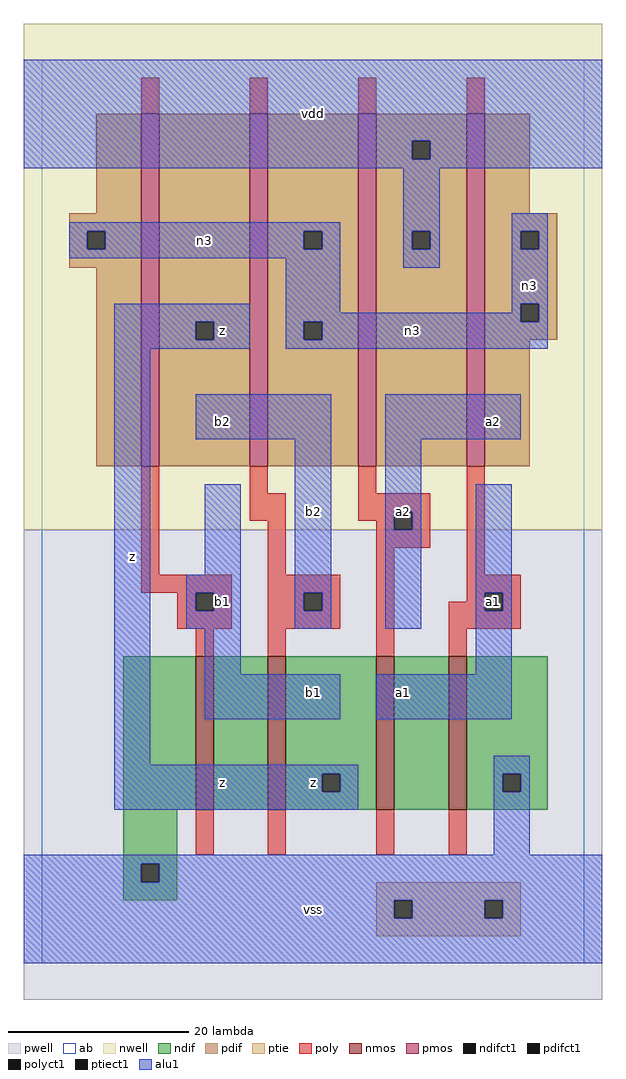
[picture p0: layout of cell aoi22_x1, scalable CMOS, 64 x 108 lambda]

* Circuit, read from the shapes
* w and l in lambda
.subckt aoi22_x1 a1 a2 b1 b2 n3 vdd vss z
M1 n1 b1 vss vss nfet w=17 l=2
M2 z b2 n1 vss nfet w=17 l=2
M3 n2 a2 z vss nfet w=17 l=2
M4 vss a1 n2 vss nfet w=17 l=2
M5 z b1 n3 n4 pfet w=39 l=2
M6 n3 b2 z n4 pfet w=39 l=2
M7 vdd a2 n3 n4 pfet w=39 l=2
M8 n3 a1 vdd n4 pfet w=39 l=2
.ends

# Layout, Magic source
magic
tech scmos
<< ab >>
rect 0 0 60 100
<< nwell >>
rect -2 48 62 104
<< pwell >>
rect -2 -4 62 48
<< poly >>
rect 11 94 13 98
rect 23 94 25 98
rect 35 94 37 98
rect 47 94 49 98
rect 11 43 13 55
rect 23 52 25 55
rect 35 52 37 55
rect 23 49 27 52
rect 35 50 43 52
rect 35 49 39 50
rect 25 43 27 49
rect 37 48 39 49
rect 41 48 43 50
rect 37 46 43 48
rect 11 41 21 43
rect 15 39 17 41
rect 19 39 21 41
rect 15 37 21 39
rect 25 41 33 43
rect 25 39 29 41
rect 31 39 33 41
rect 25 37 33 39
rect 17 34 19 37
rect 25 34 27 37
rect 37 34 39 46
rect 47 43 49 55
rect 47 41 53 43
rect 47 40 49 41
rect 45 39 49 40
rect 51 39 53 41
rect 45 37 53 39
rect 45 34 47 37
rect 17 12 19 17
rect 25 12 27 17
rect 37 12 39 17
rect 45 12 47 17
<< ndif >>
rect 9 17 17 34
rect 19 17 25 34
rect 27 21 37 34
rect 27 19 31 21
rect 33 19 37 21
rect 27 17 37 19
rect 39 17 45 34
rect 47 21 56 34
rect 47 19 51 21
rect 53 19 56 21
rect 47 17 56 19
rect 9 11 15 17
rect 9 9 11 11
rect 13 9 15 11
rect 9 7 15 9
<< pdif >>
rect 6 83 11 94
rect 3 81 11 83
rect 3 79 5 81
rect 7 79 11 81
rect 3 77 11 79
rect 6 55 11 77
rect 13 71 23 94
rect 13 69 17 71
rect 19 69 23 71
rect 13 55 23 69
rect 25 81 35 94
rect 25 79 29 81
rect 31 79 35 81
rect 25 71 35 79
rect 25 69 29 71
rect 31 69 35 71
rect 25 55 35 69
rect 37 91 47 94
rect 37 89 41 91
rect 43 89 47 91
rect 37 81 47 89
rect 37 79 41 81
rect 43 79 47 81
rect 37 55 47 79
rect 49 83 54 94
rect 49 81 57 83
rect 49 79 53 81
rect 55 79 57 81
rect 49 73 57 79
rect 49 71 53 73
rect 55 71 57 73
rect 49 69 57 71
rect 49 55 54 69
<< alu1 >>
rect -2 91 62 100
rect -2 89 41 91
rect 43 89 62 91
rect -2 88 62 89
rect 3 81 33 82
rect 3 79 5 81
rect 7 79 29 81
rect 31 79 33 81
rect 3 78 33 79
rect 8 71 23 73
rect 8 69 17 71
rect 19 69 23 71
rect 8 68 23 69
rect 27 72 33 78
rect 40 81 44 88
rect 40 79 41 81
rect 43 79 44 81
rect 40 77 44 79
rect 52 81 56 83
rect 52 79 53 81
rect 55 79 56 81
rect 52 73 56 79
rect 52 72 53 73
rect 27 71 53 72
rect 55 71 56 73
rect 27 69 29 71
rect 31 69 56 71
rect 27 68 56 69
rect 8 22 12 68
rect 17 58 32 63
rect 18 43 22 53
rect 16 41 22 43
rect 16 39 17 41
rect 19 39 22 41
rect 16 37 22 39
rect 28 41 32 58
rect 28 39 29 41
rect 31 39 32 41
rect 28 37 32 39
rect 38 58 53 63
rect 38 50 42 58
rect 38 48 39 50
rect 41 48 42 50
rect 38 37 42 48
rect 48 41 52 53
rect 48 39 49 41
rect 51 39 52 41
rect 18 32 22 37
rect 48 32 52 39
rect 18 27 33 32
rect 37 27 52 32
rect 8 21 35 22
rect 8 19 31 21
rect 33 19 35 21
rect 8 17 35 19
rect 50 21 54 23
rect 50 19 51 21
rect 53 19 54 21
rect 50 12 54 19
rect -2 11 62 12
rect -2 9 11 11
rect 13 9 62 11
rect -2 7 62 9
rect -2 5 39 7
rect 41 5 49 7
rect 51 5 62 7
rect -2 0 62 5
<< ptie >>
rect 37 7 53 9
rect 37 5 39 7
rect 41 5 49 7
rect 51 5 53 7
rect 37 3 53 5
<< nmos >>
rect 17 17 19 34
rect 25 17 27 34
rect 37 17 39 34
rect 45 17 47 34
<< pmos >>
rect 11 55 13 94
rect 23 55 25 94
rect 35 55 37 94
rect 47 55 49 94
<< polyct1 >>
rect 39 48 41 50
rect 17 39 19 41
rect 29 39 31 41
rect 49 39 51 41
<< ndifct1 >>
rect 31 19 33 21
rect 51 19 53 21
rect 11 9 13 11
<< ptiect1 >>
rect 39 5 41 7
rect 49 5 51 7
<< pdifct1 >>
rect 5 79 7 81
rect 17 69 19 71
rect 29 79 31 81
rect 29 69 31 71
rect 41 89 43 91
rect 41 79 43 81
rect 53 79 55 81
rect 53 71 55 73
<< labels >>
rlabel alu1 20 20 20 20 6 z
rlabel alu1 20 40 20 40 6 b1
rlabel alu1 10 45 10 45 6 z
rlabel alu1 20 60 20 60 6 b2
rlabel alu1 20 70 20 70 6 z
rlabel alu1 30 6 30 6 6 vss
rlabel alu1 30 20 30 20 6 z
rlabel alu1 30 30 30 30 6 b1
rlabel alu1 30 50 30 50 6 b2
rlabel alu1 18 80 18 80 6 n3
rlabel alu1 30 94 30 94 6 vdd
rlabel alu1 40 30 40 30 6 a1
rlabel alu1 40 50 40 50 6 a2
rlabel polyct1 50 40 50 40 6 a1
rlabel alu1 50 60 50 60 6 a2
rlabel alu1 41 70 41 70 6 n3
rlabel alu1 54 75 54 75 6 n3
<< end >>
